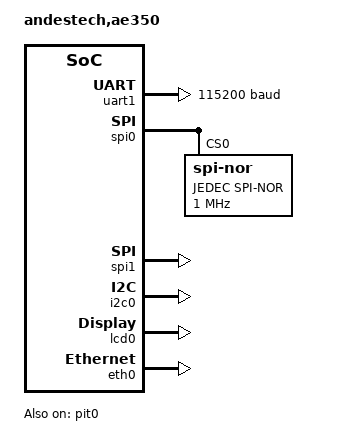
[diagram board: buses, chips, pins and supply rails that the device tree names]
/dts-v1/;

#include <andes_v5_ae350.dtsi>

/ {
	model = "andestech,ae350";
	compatible = "andestech,ae350";

	aliases {
		gpio-0 = &gpio0;
		counter-0 = &pit0;
		spi-0 = &spi0;
		spi-1 = &spi1;
		i2c-0 = &i2c0;
		lcd-0 = &lcd0;
		eth-0 = &eth0;
	};

	chosen {
		zephyr,console = &uart1;
		zephyr,shell-uart = &uart1;
		zephyr,sram = &dram;
		zephyr,flash = &flash0;
	};
};

&uart1 {
	status = "okay";
	clock-frequency = <19660800>;
	current-speed = <115200>;
};

&gpio0 {
	status = "okay";
};

&pit0 {
	status = "okay";
};

&spi0 {
	status = "okay";
	flash0: flash@0 {
		compatible = "jedec,spi-nor";
		size = <16777216>;
		label = "JEDEC SPI-NOR";
		spi-max-frequency = <1000000>;
		reg = <0>;
		status = "okay";
		jedec-id = [c2 25 35];
	};
};

&spi1 {
	status = "okay";
};

&i2c0 {
	status = "okay";
};

&lcd0 {
	status = "okay";
};
&eth0 {
	status = "okay";
};
